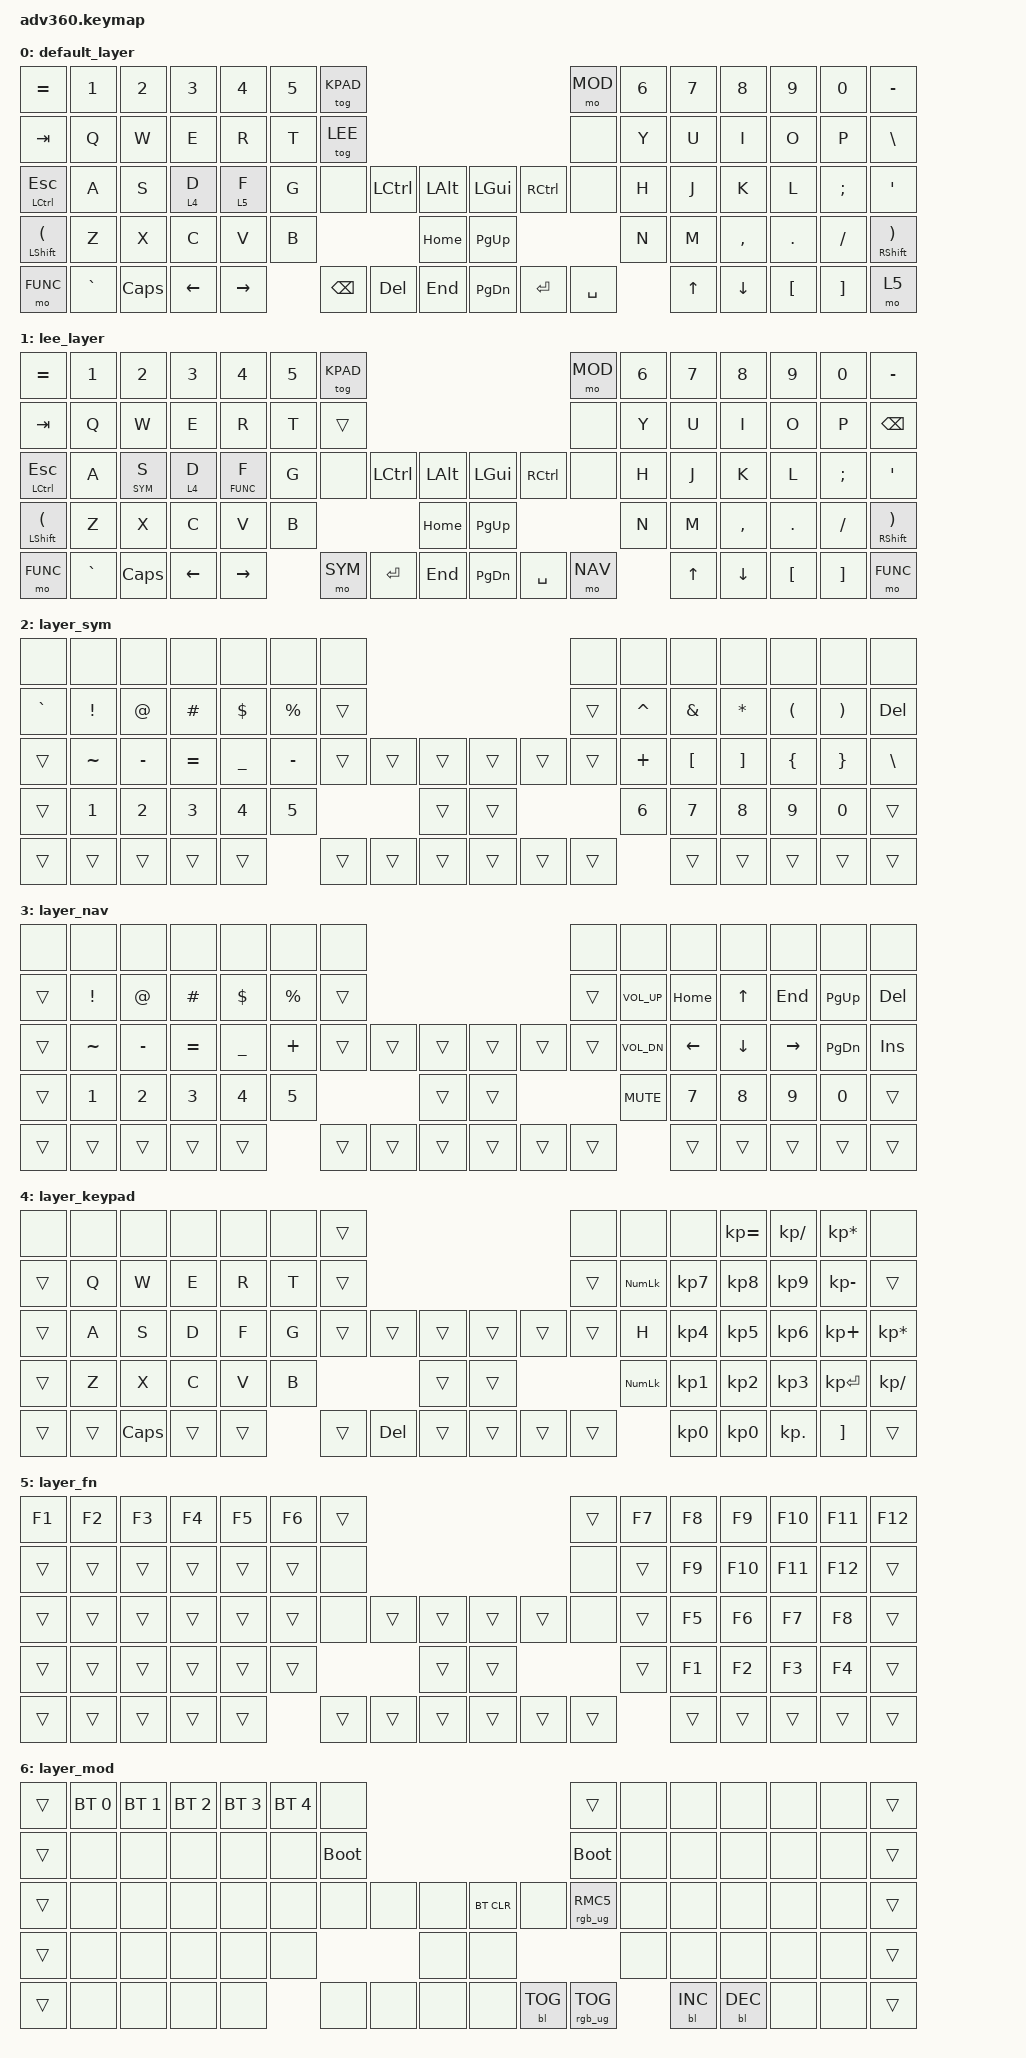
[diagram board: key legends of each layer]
/*
 * Copyright (c) 2020 The ZMK Contributors
 *
 * SPDX-License-Identifier: MIT
 */
/* THIS FILE WAS GENERATED!
 *
 * This file was generated automatically. You may or may not want to
 * edit it directly.
 */

#include <behaviors.dtsi>
#include <dt-bindings/zmk/backlight.h>
#include <dt-bindings/zmk/bt.h>
#include <dt-bindings/zmk/keys.h>
#include <dt-bindings/zmk/rgb.h>

#define LEE 1
#define SYM 2
#define NAV 3
#define KPAD 4
#define FUNC 5
#define MOD 6
#define CTLESC  LCTRL ESC
#define LSPAR   LSHFT LPAR
#define RSPAR   RSHFT RPAR
#define KP_D    3 D
#define BT_0	BT_SEL 0
#define BT_1	BT_SEL 1
#define BT_2	BT_SEL 2
#define BT_3	BT_SEL 3
#define BT_4	BT_SEL 4
#define BLDR	bootloader
#define RMC5    RGB_MEFS_CMD 5

/ {
    behaviors {
        #include "macros.dtsi"
    #include "version.dtsi"

        hm: homerow_mods {
            compatible = "zmk,behavior-hold-tap";
            label = "HOMEROW_MODS";
            #binding-cells = <2>;
            tapping-term-ms = <200>;
            quick_tap_ms = <175>;
            flavor = "tap-preferred";
            bindings = <&kp>, <&kp>;
        };
    };

    keymap {
        compatible = "zmk,keymap";

        default_layer {  /* default off */
            bindings = <
&kp EQUAL       &kp N1     &kp N2    &kp N3    &kp N4     &kp N5  &tog KPAD                                                   &mo MOD    &kp N6  &kp N7  &kp N8     &kp N9    &kp N0    &kp MINUS
&kp TAB         &kp Q      &kp W     &kp E     &kp R      &kp T   &tog LEE                                                    &none      &kp Y   &kp U   &kp I      &kp O     &kp P     &kp BSLH
&mt LCTRL ESC   &kp A      &kp S     &lt 4 D   &lt 5 F    &kp G   &none        &kp LCTRL  &kp LALT      &kp LGUI   &kp RCTRL  &none      &kp H   &kp J   &kp K      &kp L     &kp SEMI  &kp SQT
&mt LSHFT LPAR  &kp Z      &kp X     &kp C     &kp V      &kp B                           &kp HOME      &kp PG_UP                        &kp N   &kp M   &kp COMMA  &kp DOT   &kp FSLH  &mt RSHFT RPAR
&mo FUNC        &kp GRAVE  &kp CAPS  &kp LEFT  &kp RIGHT          &kp BSPC     &kp DEL    &kp END       &kp PG_DN  &kp ENTER  &kp SPACE          &kp UP  &kp DOWN   &kp LBKT  &kp RBKT  &mo 5
            >;
        };

        lee_layer {   /* white */
            bindings = <
&kp EQUAL       &kp N1     &kp N2     &kp N3    &kp N4      &kp N5  &tog KPAD                                                  &mo MOD  &kp N6  &kp N7   &kp N8     &kp N9    &kp N0    &kp MINUS
&kp TAB         &kp Q      &kp W      &kp E     &kp R       &kp T   &trans                                                     &none    &kp Y   &kp U    &kp I      &kp O     &kp P     &kp BSPC
&mt LCTRL ESC   &kp A      &lt SYM S  &lt 4 D   &lt FUNC F  &kp G   &none          &kp LCTRL  &kp LALT   &kp LGUI   &kp RCTRL  &none    &kp H   &kp J    &kp K      &kp L     &kp SEMI  &kp SQT
&mt LSHFT LPAR  &kp Z      &kp X      &kp C     &kp V       &kp B                             &kp HOME   &kp PG_UP                      &kp N   &kp M    &kp COMMA  &kp DOT   &kp FSLH  &mt RSHFT RPAR
&mo FUNC        &kp GRAVE  &kp CAPS   &kp LEFT  &kp RIGHT           &mo SYM        &kp ENTER  &kp END    &kp PG_DN  &kp SPACE  &mo NAV          &kp UP   &kp DOWN   &kp LBKT  &kp RBKT  &mo FUNC
            >;
        };

        layer_sym {  /* Blue */
            bindings = <
&none           &none       &none       &none      &none      &none      &none                                                   &none   &none      &none     &none     &none     &none     &none
&kp GRAVE       &kp EXCL    &kp AT      &kp HASH   &kp DOLLAR &kp PRCNT  &trans                                                  &trans  &kp CARET  &kp AMPS  &kp STAR  &kp LPAR  &kp RPAR  &kp DEL
&trans          &kp TILDE   &kp MINUS   &kp EQUAL  &kp UNDER  &kp MINUS  &trans      &trans     &trans      &trans     &trans    &trans  &kp PLUS   &kp LBKT  &kp RBKT  &kp LBRC  &kp RBRC  &kp BSLH
&trans          &kp N1      &kp N2      &kp N3     &kp N4     &kp N5                            &trans      &trans                       &kp N6     &kp N7     &kp N8    &kp N9    &kp N0    &trans
&trans          &trans      &trans      &trans     &trans                &trans      &trans     &trans      &trans     &trans    &trans             &trans     &trans    &trans    &trans    &trans
            >;
        };

        layer_nav {  /* Green */
            bindings = <
&none           &none      &none      &none      &none       &none      &none                                                 &none     &none         &none     &none     &none      &none      &none
&trans          &kp EXCL   &kp AT     &kp HASH   &kp DOLLAR  &kp PRCNT  &trans                                                &trans    &kp C_VOL_UP  &kp HOME  &kp UP    &kp END    &kp PG_UP  &kp DEL
&trans          &kp TILDE  &kp MINUS  &kp EQUAL  &kp UNDER   &kp PLUS   &trans      &trans    &trans      &trans    &trans    &trans    &kp C_VOL_DN  &kp LEFT  &kp DOWN  &kp RIGHT  &kp PG_DN  &kp INS
&trans          &kp N1     &kp N2     &kp N3     &kp N4      &kp N5                           &trans      &trans                        &kp C_MUTE    &kp N7    &kp N8    &kp N9     &kp N0     &trans
&trans          &trans     &trans     &trans     &trans                 &trans      &trans    &trans      &trans    &trans    &trans                  &trans    &trans    &trans     &trans     &trans
            >;
        };

        layer_keypad { /* Red */
            bindings = <
&none           &none     &none     &none   &none   &none  &trans                                        &none   &none           &none     &kp KP_EQUAL &kp KP_DIVIDE &kp KP_MULTIPLY &none
&trans          &kp Q     &kp W     &kp E   &kp R   &kp T  &trans                                       &trans  &kp KP_NUM      &kp KP_N7  &kp KP_N8    &kp KP_N9     &kp KP_MINUS    &trans
&trans          &kp A     &kp S     &kp D   &kp F   &kp G  &trans  &trans   &trans      &trans  &trans  &trans  &kp H           &kp KP_N4  &kp KP_N5    &kp KP_N6     &kp KP_PLUS     &kp KP_MULTIPLY
&trans          &kp Z     &kp X     &kp C   &kp V   &kp B                   &trans      &trans                  &kp KP_NUMLOCK  &kp KP_N1  &kp KP_N2    &kp KP_N3     &kp KP_ENTER    &kp KP_DIVIDE
&trans          &trans    &kp CAPS  &trans  &trans         &trans  &kp DEL  &trans      &trans  &trans  &trans                  &kp KP_N0  &kp KP_N0    &kp KP_DOT    &kp RBKT        &trans
            >;
        };

        layer_fn { /* Purple */
            bindings = <
&kp F1  &kp F2  &kp F3  &kp F4  &kp F5  &kp F6  &trans                                      &trans  &kp F7  &kp F8  &kp F9   &kp F10  &kp F11  &kp F12
&trans  &trans  &trans  &trans  &trans  &trans  &none                                       &none   &trans  &kp F9  &kp F10  &kp F11  &kp F12  &trans
&trans  &trans  &trans  &trans  &trans  &trans  &none   &trans  &trans      &trans  &trans  &none   &trans  &kp F5  &kp F6   &kp F7   &kp F8   &trans
&trans  &trans  &trans  &trans  &trans  &trans                  &trans      &trans                  &trans  &kp F1  &kp F2   &kp F3   &kp F4   &trans
&trans  &trans  &trans  &trans  &trans          &trans  &trans  &trans      &trans  &trans  &trans          &trans  &trans   &trans   &trans   &trans
            >;
        };

        layer_mod { /* Cyan */
            bindings = <
&trans  &bt BT_0  &bt BT_1  &bt BT_2  &bt BT_3  &bt BT_4  &none                                                  &trans           &none  &none       &none       &none  &none  &trans
&trans  &none     &none     &none     &none     &none     &bootloader                                            &bootloader      &none  &none       &none       &none  &none  &trans
&trans  &none     &none     &none     &none     &none     &none        &none  &none      &bt BT_CLR  &none       &rgb_ug RMC5     &none  &none       &none       &none  &none  &trans
&trans  &none     &none     &none     &none     &none                         &none      &none                                    &none  &none       &none       &none  &none  &trans
&trans  &none     &none     &none     &none               &none        &none  &none      &none       &bl BL_TOG  &rgb_ug RGB_TOG         &bl BL_INC  &bl BL_DEC  &none  &none  &trans
            >;
        };
    };
};
